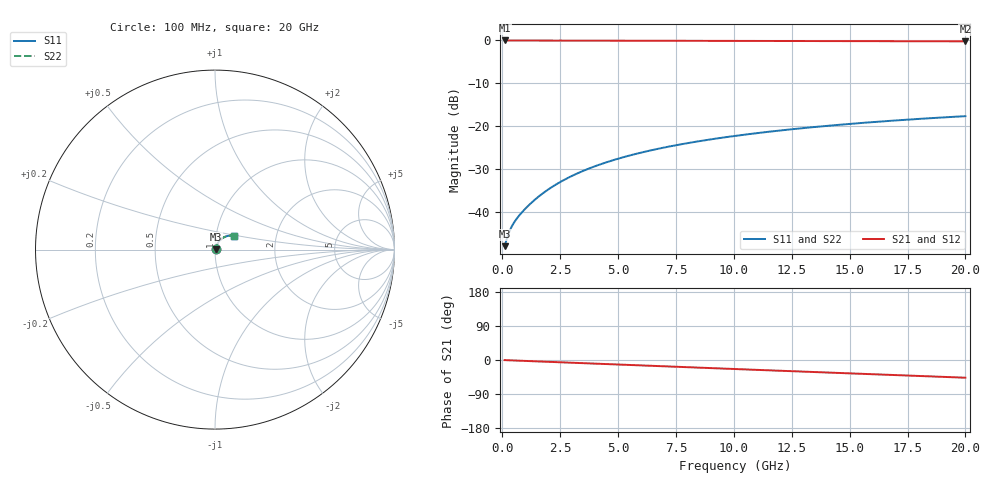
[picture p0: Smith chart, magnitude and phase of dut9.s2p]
! Touchstone file exported from HFSS 2026.1.0
!  File:  C:/ffzhzh/LocalFiles/Ansys_Project_Files/temp_val_BSMRDL_9_1782903201_43084.aedt
!  Generated:  06:54:30 PM Jul  1, 2026
!  Design:  BSMRDL
!  Project:  temp_val_BSMRDL_9_1782903201_43084
! Variables:
!  h_bsmrdl = 3.29um
!  h_ox = 20um
!  h_rdl = 5um
!  h_sub = 80um
!  h_tmrdl = 5um
!  h_tsv = 80um
!  h_via = 3um
!  l_bsmrdl = 813.94um
!  l_sub = 1213.94um
!  l_tmrdl = 200um
!  m_sub = 200um
!  pitch = 33.05um
!  r_tsv = 6um
!  s_tmrdl = 10um
!  w_bsmrdl = 25.69um
!  w_sub = 500um
!  w_tmrdl = 12um
!  x_tsv_center1 = 206um
!  x_tsv_center2 = 1045.63um
!  x_tsv_center3 = 1257.63um
!  x_tsv_center4 = 2097.26um
!  x_tsv_center5 = 2309.26um
!  x_tsv_center6 = 3148.89um
# GHz S MA R 50.000000
! Terminal data exported
! Port[1] = BSM_RDL1_1_T1
! Port[2] = BSM_RDL1_1_T2
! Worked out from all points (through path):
!   200 points, 100 MHz to 20 GHz, reference 50 ohm
!   highest |S21| = -0.03 dB at 100 MHz (marker M1); lowest = -0.2 dB at 20 GHz (marker M2)
!   group delay of S21, straight-line fit = 6.47 ps
!   lowest |S11| = -48.0 dB at 100 MHz (marker M3), VSWR 1.01, Z = 50.4 + j0.144 ohm
!   |S11| at or under -10 dB: start of sweep to end of sweep
!   |S22| runs from -48.0 to -17.7 dB; largest |S21 - S12| = 3e-15
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0.1  0.003989 21.0  0.9963 -0.3  0.9963 -0.3  0.003989 21.0
! Gamma 0 0 0 0
! Port Impedance 50 0 50 0
0.2  0.004904 33.0  0.9959 -0.5  0.9959 -0.5  0.004904 33.0
0.3  0.005854 38.9  0.9955 -0.8  0.9955 -0.8  0.005854 38.9
0.4  0.006708 42.5  0.9951 -1.0  0.9951 -1.0  0.006708 42.5
0.5  0.007474 45.3  0.9949 -1.3  0.9949 -1.3  0.007474 45.3
0.6  0.008189 47.7  0.9946 -1.5  0.9946 -1.5  0.008189 47.7
0.8  0.009564 51.8  0.9944 -2.0  0.9944 -2.0  0.009565 51.8
1.2  0.01237 58.2  0.994 -2.9  0.994 -2.9  0.01237 58.2
1.7  0.01609 63.0  0.9937 -4.1  0.9937 -4.1  0.01609 63.0
2.2  0.01995 65.5  0.9933 -5.3  0.9933 -5.3  0.01995 65.5
2.8  0.02465 67.0  0.9928 -6.8  0.9928 -6.8  0.02465 67.0
3.5  0.03015 67.4  0.9922 -8.4  0.9922 -8.4  0.03015 67.4
4.2  0.0356 67.0  0.9915 -10.1  0.9915 -10.1  0.0356 67.0
5  0.04171 66.1  0.9905 -12.0  0.9905 -12.0  0.04172 66.1
5.9  0.04843 64.7  0.9894 -14.1  0.9894 -14.1  0.04843 64.7
6.8  0.05494 63.1  0.9883 -16.3  0.9883 -16.3  0.05495 63.1
8.3  0.06537 60.2  0.9863 -19.8  0.9863 -19.8  0.06539 60.2
10.1  0.07721 56.5  0.984 -24.0  0.984 -24.0  0.07722 56.5
11.7  0.08715 53.2  0.982 -27.7  0.982 -27.7  0.08717 53.2
13.4  0.09716 49.6  0.98 -31.6  0.98 -31.6  0.09719 49.6
16.7  0.115 42.7  0.9763 -39.2  0.9763 -39.2  0.115 42.7
20  0.1306 35.8  0.9729 -46.7  0.9729 -46.7  0.1307 35.7
